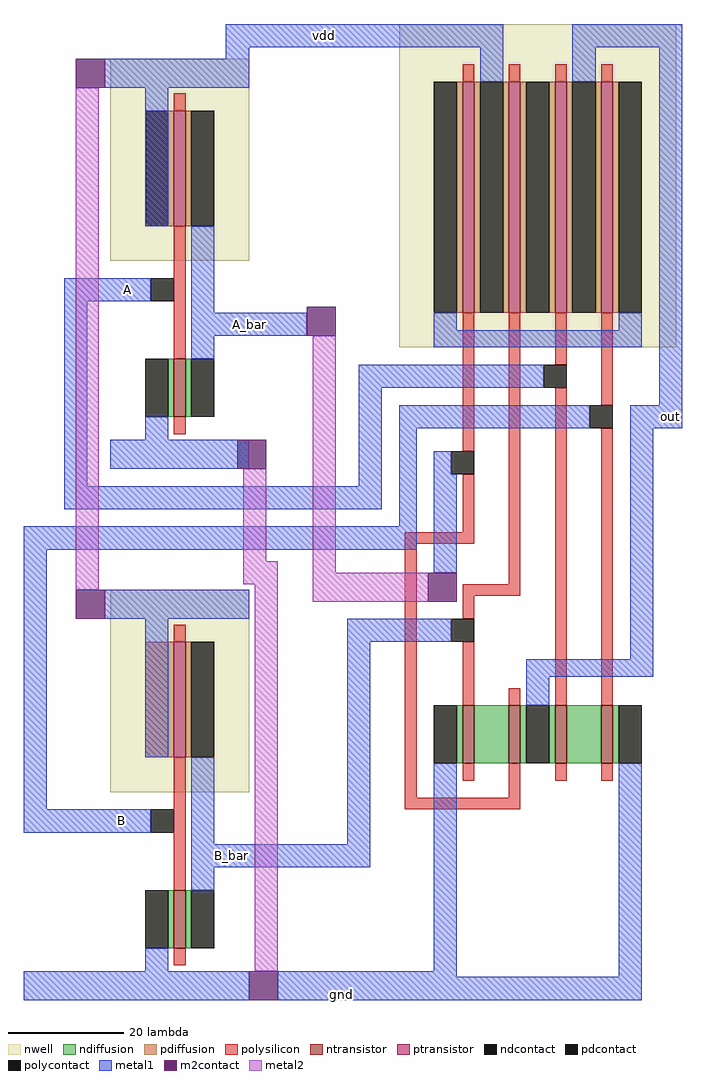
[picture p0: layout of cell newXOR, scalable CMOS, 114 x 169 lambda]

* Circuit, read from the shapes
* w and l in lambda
.subckt newXOR A A_bar B B_bar gnd out vdd
M1 B_bar B gnd VSUBS nfet w=10 l=2
M2 A_bar A gnd VSUBS nfet w=10 l=2
M3 n1 B_bar gnd VSUBS nfet w=10 l=2
M4 out A_bar n1 VSUBS nfet w=10 l=2
M5 n2 A out VSUBS nfet w=10 l=2
M6 gnd B n2 VSUBS nfet w=10 l=2
M7 B_bar B n3 n4 pfet w=20 l=2
M8 A_bar A vdd n5 pfet w=20 l=2
M9 vdd A_bar n6 n7 pfet w=40 l=2
M10 n8 B_bar vdd n7 pfet w=40 l=2
M11 out A n8 n7 pfet w=40 l=2
M12 n6 B out n7 pfet w=40 l=2
.ends

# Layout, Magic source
magic
tech scmos
<< nwell >>
rect 50 21 98 77
<< ntransistor >>
rect 61 -51 63 -41
rect 69 -51 71 -41
rect 77 -51 79 -41
rect 85 -51 87 -41
<< ptransistor >>
rect 61 27 63 67
rect 69 27 71 67
rect 77 27 79 67
rect 85 27 87 67
<< ndiffusion >>
rect 60 -51 61 -41
rect 63 -51 69 -41
rect 71 -51 72 -41
rect 76 -51 77 -41
rect 79 -51 85 -41
rect 87 -51 88 -41
<< pdiffusion >>
rect 60 27 61 67
rect 63 27 64 67
rect 68 27 69 67
rect 71 27 72 67
rect 76 27 77 67
rect 79 27 80 67
rect 84 27 85 67
rect 87 27 88 67
<< ndcontact >>
rect 56 -51 60 -41
rect 72 -51 76 -41
rect 88 -51 92 -41
<< pdcontact >>
rect 6 42 10 62
rect 56 27 60 67
rect 64 27 68 67
rect 72 27 76 67
rect 80 27 84 67
rect 88 27 92 67
<< polysilicon >>
rect 61 67 63 70
rect 69 67 71 70
rect 77 67 79 70
rect 85 67 87 70
rect 61 3 63 27
rect 61 -11 63 -1
rect 51 -13 63 -11
rect 51 -57 53 -13
rect 69 -20 71 27
rect 77 18 79 27
rect 61 -22 71 -20
rect 61 -26 63 -22
rect 61 -41 63 -30
rect 69 -41 71 -38
rect 77 -41 79 14
rect 85 11 87 27
rect 85 -41 87 7
rect 61 -54 63 -51
rect 69 -57 71 -51
rect 77 -54 79 -51
rect 85 -54 87 -51
rect 51 -59 71 -57
<< polycontact >>
rect 59 -1 63 3
rect 75 14 79 18
rect 59 -30 63 -26
rect 83 7 87 11
<< metal1 >>
rect 20 73 68 77
rect 20 71 24 73
rect -1 66 24 71
rect 64 67 68 73
rect 80 73 99 77
rect 80 67 84 73
rect -8 29 6 33
rect -8 -3 -4 29
rect 21 23 34 27
rect 56 24 60 27
rect 88 24 92 27
rect 56 21 92 24
rect 43 14 75 18
rect 43 -3 47 14
rect 95 11 99 73
rect -8 -7 47 -3
rect 50 7 83 11
rect 90 7 99 11
rect 50 -10 53 7
rect -15 -14 53 -10
rect 56 -1 59 3
rect -15 -59 -11 -14
rect 56 -18 60 -1
rect -1 -26 24 -21
rect 41 -30 59 -26
rect -15 -63 5 -59
rect 41 -65 45 -30
rect 90 -33 94 7
rect 72 -36 94 -33
rect 72 -41 76 -36
rect 18 -69 45 -65
rect 56 -87 60 -51
rect -15 -92 11 -87
rect 14 -92 24 -87
rect 29 -88 60 -87
rect 88 -88 92 -51
rect 29 -92 92 -88
<< m2contact >>
rect -6 66 -1 71
rect 34 23 39 28
rect 22 0 27 5
rect -6 -26 -1 -21
rect 55 -23 60 -18
rect 24 -92 29 -87
<< metal2 >>
rect -6 -21 -2 66
rect 23 -16 27 0
rect 23 -20 29 -16
rect 25 -87 29 -20
rect 35 -18 39 23
rect 35 -23 55 -18
use 2INV  2INV_0
transform 1 0 0 0 1 -45
box 0 45 24 116
use 2INV  2INV_1
transform 1 0 0 0 1 -137
box 0 45 24 116
<< labels >>
rlabel metal1 97 9 97 9 7 out
rlabel metal1 0 29 6 33 1 A
rlabel metal1 -1 -63 5 -59 1 B
rlabel metal1 18 -69 24 -65 1 B_bar
rlabel metal1 21 23 27 27 1 A_bar
rlabel metal1 40 -91 40 -91 1 gnd
rlabel metal1 37 75 37 75 5 vdd
<< end >>

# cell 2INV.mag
magic
tech scmos
<< nwell >>
rect 0 81 24 116
<< ntransistor >>
rect 11 54 13 64
<< ptransistor >>
rect 11 87 13 107
<< ndiffusion >>
rect 10 54 11 64
rect 13 54 14 64
<< pdiffusion >>
rect 6 87 11 107
rect 13 87 14 107
<< ndcontact >>
rect 6 54 10 64
rect 14 54 18 64
<< pdcontact >>
rect 14 87 18 107
<< polysilicon >>
rect 11 107 13 110
rect 11 64 13 87
rect 11 51 13 54
<< polycontact >>
rect 7 74 11 78
<< metal1 >>
rect 0 111 24 116
rect 6 87 10 111
rect 0 74 7 78
rect 14 72 18 87
rect 14 68 24 72
rect 14 64 18 68
rect 6 50 10 54
rect 0 45 24 50
<< end >>
